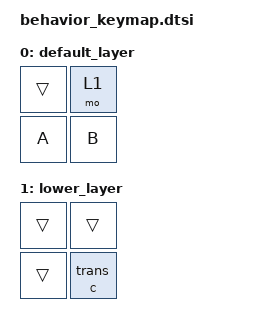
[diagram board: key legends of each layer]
#include <dt-bindings/zmk/keys.h>
#include <behaviors.dtsi>
#include <dt-bindings/zmk/kscan_mock.h>

/ {
    behaviors {
        ht_bal: behavior_hold_tap_balanced {
            compatible = "zmk,behavior-hold-tap";
            #binding-cells = <2>;
            flavor = "balanced";
            tapping-term-ms = <300>;
            bindings = <&kp>, <&trans>;
        };
    };
    keymap {
        compatible = "zmk,keymap";

        default_layer {
            bindings = <
                &trans &mo 1
                &kp A &kp B>;
        };

        lower_layer {
            bindings = <
                &trans &trans
                &trans  &ht_bal C 0>;
        };
    };
};
